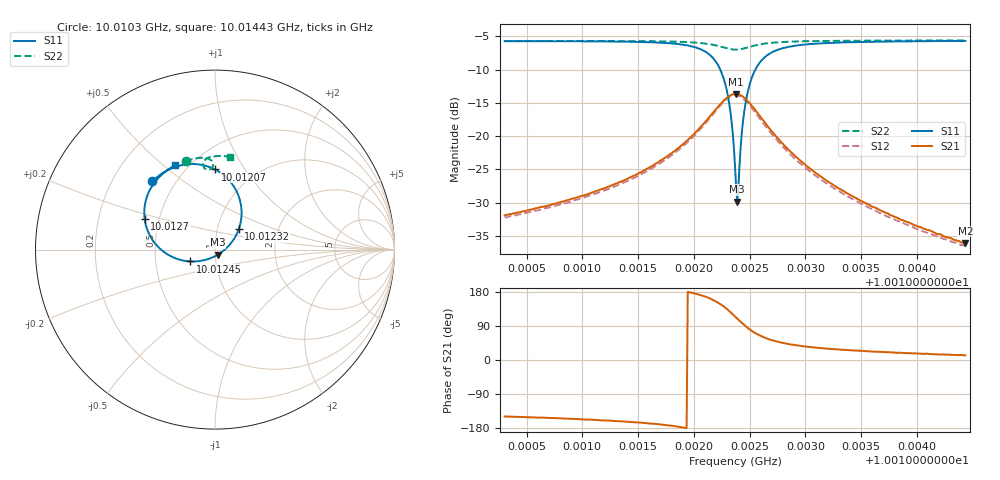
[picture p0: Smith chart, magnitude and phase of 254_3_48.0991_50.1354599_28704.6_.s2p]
#  HZ  S  RI  R  50.00
! Rohde & Schwarz Vector Network Analyzer
! Rohde-Schwarz,ZNB20-2Port,1311601062101988,3.16
! Created: UTC 12/23/2023, 4:00:06 AM
! freq[Hz]  re:S11  im:S11  re:S21  im:S21  re:S12  im:S12  re:S22  im:S22
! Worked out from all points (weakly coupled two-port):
!   401 points, 10.0103 GHz to 10.01443 GHz, reference 50 ohm
!   highest |S21| = -13.64 dB at 10.01238 GHz (marker M1); lowest = -36.0 dB at 10.01443 GHz (marker M2)
!   lowest |S11| = -29.8 dB at 10.01239 GHz (marker M3), VSWR 1.07, Z = 51.4 - j2.94 ohm
!   |S11| at or under -10 dB: 10.01224 GHz to 10.01255 GHz (313.8 kHz wide, 0.00313 % of centre)
!   |S22| runs from -7.0 to -5.6 dB; largest |S21 - S12| = 0.0099
!   S11 on the Smith chart (normalised r, x): 10.0103 GHz: 0.37, +0.39; 10.01207 GHz: 0.67, +0.74; 10.01232 GHz: 1.27, +0.30; 10.01245 GHz: 0.75, -0.10; 10.0127 GHz: 0.42, +0.17; 10.01443 GHz: 0.43, +0.55
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1.0010304e10  -0.349 0.3816  -0.0218 -0.0131  -0.0203 -0.0139  -0.1633 0.4928
1.0010995e10  -0.2925 0.4256  -0.0327 -0.0142  -0.0306 -0.0153  -0.1175 0.506
1.0011687e10  -0.1807 0.4716  -0.0632 -0.0116  -0.0602 -0.0145  -0.0643 0.5122
1.0012069e10  0.000228 0.4466  -0.1176 0.0199  -0.1151 0.0128  -0.0242 0.4999
1.0012224e10  0.1279 0.3075  -0.1462 0.0848  -0.1472 0.0751  -0.0109 0.4751
1.0012275e10  0.1482 0.2092  -0.1429 0.1222  -0.1454 0.113  -0.013 0.4624
1.0012317e10  0.1329 0.1149  -0.1266 0.1554  -0.1304 0.1473  -0.0197 0.4525
1.0012348e10  0.0965 0.0453  -0.1055 0.1774  -0.11 0.1696  -0.0276 0.4474
1.0012368e10  0.0599 0.00446  -0.0873 0.1887  -0.0922 0.1814  -0.0341 0.4454
1.0012379e10  0.0386 -0.013  -0.0777 0.1929  -0.0828 0.1858  -0.0373 0.4451
1.0012389e10  0.0151 -0.0285  -0.0675 0.1963  -0.0722 0.1894  -0.0407 0.4452
1.0012399e10  -0.00872 -0.0411  -0.0576 0.1983  -0.0627 0.1917  -0.0438 0.4456
1.001241e10  -0.0348 -0.0516  -0.047 0.1995  -0.0521 0.1931  -0.0472 0.4465
1.001243e10  -0.087 -0.0641  -0.027 0.1988  -0.0321 0.1925  -0.0528 0.4492
1.0012451e10  -0.1377 -0.066  -0.00774 0.1947  -0.0133 0.1886  -0.0578 0.4532
1.0012492e10  -0.2272 -0.0455  0.024 0.1785  0.0183 0.1728  -0.0642 0.4628
1.0012544e10  -0.3085 0.00712  0.0495 0.1517  0.0424 0.1472  -0.0663 0.4752
1.0012699e10  -0.3918 0.1691  0.0666 0.0858  0.0601 0.0844  -0.0551 0.5003
1.0012854e10  -0.3872 0.2668  0.0585 0.0522  0.0533 0.0519  -0.0388 0.5112
1.001306e10  -0.3604 0.3374  0.0461 0.0309  0.0424 0.0312  -0.0191 0.5175
1.0013752e10  -0.2814 0.4308  0.0241 0.00897  0.0225 0.00973  0.0344 0.5215
1.0014433e10  -0.2229 0.4697  0.0154 0.00336  0.0143 0.00412  0.0811 0.5177
